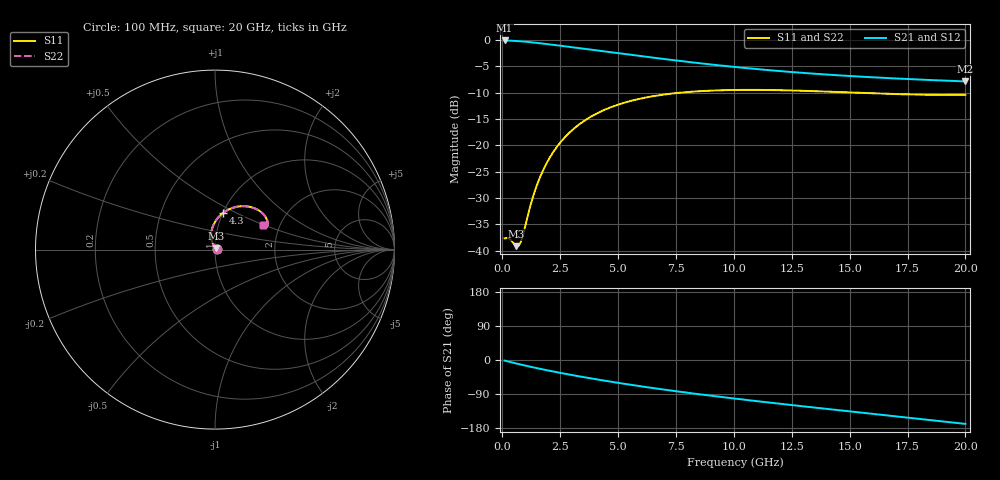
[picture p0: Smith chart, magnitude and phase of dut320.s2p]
! Touchstone file exported from HFSS 2024.1.0
!  File:  C:/UserFiles/LocalFiles/RDL_TSV_Batchsim/temp_RDL_TSV_320_1779629576.aedt
!  Generated:  09:47:33 PM May 24, 2026
!  Design:  RDL_TSV
!  Project:  temp_RDL_TSV_320_1779629576
!  Setup:  Setup1
!  Solution:  Sweep
! Variables:
!  dtsv = 11.21um
!  hbump = 3um
!  htsv = 52.75um
!  ldown = 467.19um
!  lrdl = 284.8um
!  p = 40
!  p1 = 55.78um
!  rhole = 10um
!  subl = 2540.77um
!  t = 450um
!  tdown = 3.94um
!  trdl = 2.55um
!  viad = 10um
!  wdown = 28.01um
!  wrdl = 20.21um
!  xbump = 18um
# GHz S MA R 50.000000
! Terminal data exported
! Port[1] = TM1_1_T1
! Port[2] = TM1_4_T1
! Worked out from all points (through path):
!   200 points, 100 MHz to 20 GHz, reference 50 ohm
!   highest |S21| = -0.12 dB at 100 MHz (marker M1); lowest = -7.9 dB at 20 GHz (marker M2)
!   group delay of S21, straight-line fit = 22 ps
!   lowest |S11| = -39.1 dB at 600 MHz (marker M3), VSWR 1.02, Z = 50.8 + j0.759 ohm
!   |S11| at or under -10 dB: start of sweep to 7.744 GHz; 15.1 GHz to end of sweep
!   |S22| runs from -39.1 to -9.5 dB; largest |S21 - S12| = 1.2e-14
!   S11 on the Smith chart (normalised r, x): 100 MHz: 1.03, +0.00; 4.3 GHz: 1.01, +0.43; 20 GHz: 1.64, +0.49
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0.1  0.01308 6.5  0.9865 -1.6  0.9865 -1.6  0.01308 6.5
! Gamma 0 0 0 0
! Port Impedance 50 0 50 0
0.3  0.013 16.8  0.9832 -4.6  0.9832 -4.6  0.013 16.8
0.6  0.01104 42.6  0.9752 -9.1  0.9752 -9.1  0.01104 42.6
0.7  0.01105 57.5  0.9719 -10.6  0.9719 -10.6  0.01104 57.5
0.8  0.01209 73.2  0.9682 -12.0  0.9682 -12.0  0.01209 73.3
1.2  0.02606 106.0  0.9506 -17.6  0.9506 -17.6  0.02607 106.0
1.4  0.03645 109.5  0.9406 -20.3  0.9406 -20.3  0.03646 109.5
1.6  0.04801 109.9  0.93 -22.9  0.93 -22.9  0.04802 109.9
1.9  0.06668 107.8  0.9136 -26.7  0.9136 -26.7  0.0667 107.8
2.2  0.08618 104.3  0.8968 -30.4  0.8968 -30.4  0.0862 104.3
2.6  0.1124 99.0  0.8744 -35.1  0.8744 -35.1  0.1124 99.0
3  0.1381 93.5  0.8522 -39.6  0.8522 -39.6  0.1381 93.5
3.5  0.1683 86.9  0.825 -45.1  0.825 -45.1  0.1684 86.9
4.3  0.2113 77.1  0.783 -53.4  0.783 -53.4  0.2113 77.1
5.4  0.2582 65.6  0.7285 -64.1  0.7285 -64.1  0.2582 65.6
6.8  0.2988 53.7  0.6656 -76.5  0.6656 -76.5  0.2989 53.7
8.4  0.3245 43.3  0.6041 -89.5  0.6041 -89.5  0.3246 43.3
10.1  0.3346 35.1  0.5511 -102.3  0.5511 -102.3  0.3347 35.1
11.7  0.3338 29.6  0.5115 -113.5  0.5115 -113.5  0.3339 29.6
13.4  0.3264 25.8  0.4784 -125.0  0.4784 -125.0  0.3265 25.7
16.7  0.3072 23.7  0.4332 -146.8  0.4332 -146.8  0.3073 23.7
20  0.3015 27.0  0.4032 -168.6  0.4032 -168.6  0.3015 26.9
